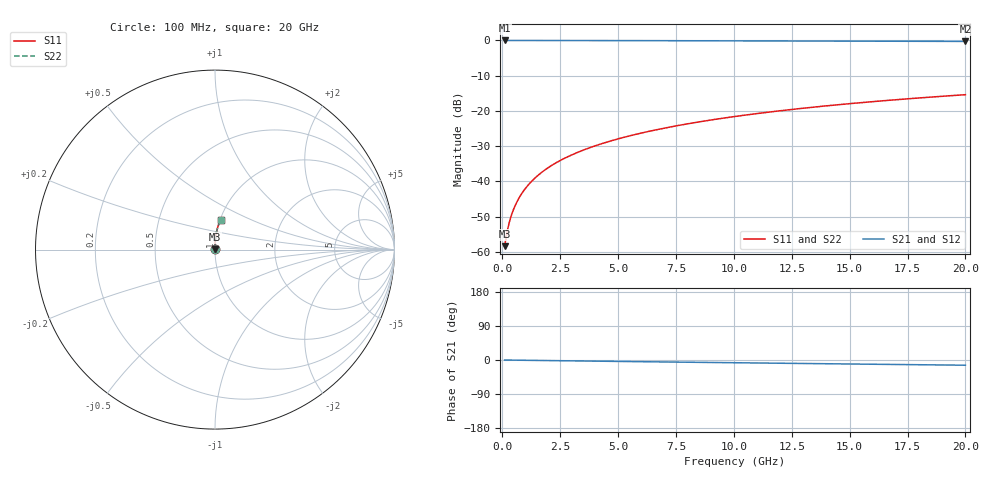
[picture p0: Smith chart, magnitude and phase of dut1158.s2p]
! Touchstone file exported from HFSS 2024.1.0
!  File:  C:/UserFiles/LocalFiles/RDL_TSV_Batchsim/temp_RDL_bottom_1158_1780056327.aedt
!  Generated:  08:07:57 PM May 29, 2026
!  Design:  RDL_bottom
!  Project:  temp_RDL_bottom_1158_1780056327
!  Setup:  Setup1
!  Solution:  Sweep
! Variables:
!  dtsv = 10.80580581um
!  hbump = 3um
!  htsv = 77.71um
!  ldown = 145.31um
!  lrdl = 100um
!  p = 40
!  p1 = 53.54um
!  rhole = 1um
!  t = 450um
!  tdown = 3.88um
!  trdl = 3.915915916um
!  wdown = 19.22um
!  wrdl = 20um
# GHz S MA R 50.000000
! Terminal data exported
! Port[1] = RDL1_T1
! Port[2] = RDL1_T2
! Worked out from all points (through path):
!   200 points, 100 MHz to 20 GHz, reference 50 ohm
!   highest |S21| = -0.01 dB at 100 MHz (marker M1); lowest = -0.3 dB at 20 GHz (marker M2)
!   group delay of S21, straight-line fit = 1.9 ps
!   lowest |S11| = -58.3 dB at 100 MHz (marker M3), VSWR 1.00, Z = 50.1 + j0.0834 ohm
!   |S11| at or under -10 dB: start of sweep to end of sweep
!   |S22| runs from -58.3 to -15.4 dB; largest |S21 - S12| = 5.5e-15
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0.1  0.00121 43.5  0.9991 -0.1  0.9991 -0.1  0.00121 43.5
! Gamma 0 0 0 0
! Port Impedance 50 0 50 0
0.2  0.001882 61.2  0.9991 -0.2  0.9991 -0.2  0.001882 61.2
0.3  0.00262 69.0  0.999 -0.2  0.999 -0.2  0.00262 69.0
0.4  0.003373 73.4  0.999 -0.3  0.999 -0.3  0.003373 73.4
0.5  0.004132 76.2  0.999 -0.4  0.999 -0.4  0.004132 76.2
0.6  0.004896 78.2  0.9989 -0.5  0.9989 -0.5  0.004896 78.2
0.8  0.006434 80.9  0.9988 -0.6  0.9988 -0.6  0.006434 80.9
1.1  0.008762 83.3  0.9987 -0.9  0.9987 -0.9  0.008762 83.3
1.5  0.01189 85.0  0.9985 -1.2  0.9985 -1.2  0.01189 85.0
1.8  0.01426 85.8  0.9983 -1.4  0.9983 -1.4  0.01426 85.8
2.1  0.01663 86.4  0.9981 -1.6  0.9981 -1.6  0.01663 86.4
2.7  0.02141 87.2  0.9975 -2.1  0.9975 -2.1  0.02141 87.2
3.5  0.02786 87.7  0.9966 -2.7  0.9966 -2.7  0.02786 87.7
4.2  0.03357 87.9  0.9957 -3.2  0.9957 -3.2  0.03357 87.9
5  0.04019 88.0  0.9946 -3.8  0.9946 -3.8  0.04019 88.0
5.9  0.04773 87.9  0.9932 -4.4  0.9932 -4.4  0.04773 87.9
6.8  0.05536 87.7  0.9918 -5.0  0.9918 -5.0  0.05537 87.7
8.3  0.06827 87.1  0.9893 -6.1  0.9893 -6.1  0.06827 87.1
10.1  0.08396 86.2  0.9862 -7.3  0.9862 -7.3  0.08396 86.2
13.4  0.1129 84.0  0.9805 -9.5  0.9805 -9.5  0.1129 84.0
16.7  0.1417 81.7  0.9747 -11.6  0.9747 -11.6  0.1417 81.7
20  0.17 79.4  0.9685 -13.8  0.9685 -13.8  0.17 79.4
